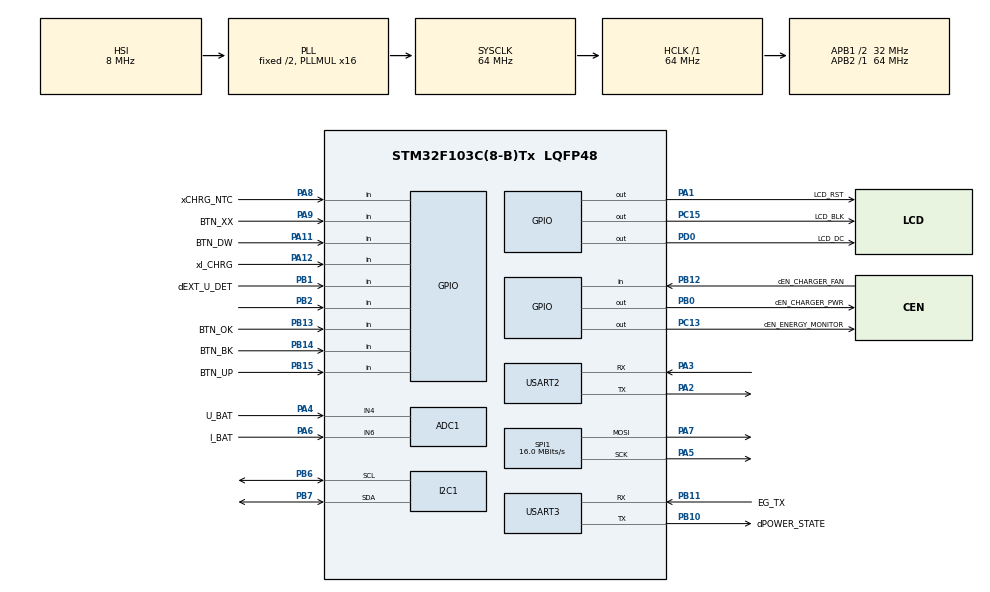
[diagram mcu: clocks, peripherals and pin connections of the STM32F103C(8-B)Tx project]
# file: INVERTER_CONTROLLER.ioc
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ADC1.Channel-5\#ChannelRegularConversion=ADC_CHANNEL_6
ADC1.Channel-6\#ChannelRegularConversion=ADC_CHANNEL_4
ADC1.ContinuousConvMode=DISABLE
ADC1.EnableRegularConversion=ENABLE
ADC1.ExternalTrigConv=ADC_EXTERNALTRIGCONV_T3_TRGO
ADC1.NbrOfConversion=2
ADC1.NbrOfConversionFlag=1
ADC1.Rank-5\#ChannelRegularConversion=1
ADC1.Rank-6\#ChannelRegularConversion=2
ADC1.SamplingTime-5\#ChannelRegularConversion=ADC_SAMPLETIME_1CYCLE_5
ADC1.SamplingTime-6\#ChannelRegularConversion=ADC_SAMPLETIME_1CYCLE_5
ADC1.master=1
Dma.ADC1.0.Direction=DMA_PERIPH_TO_MEMORY
Dma.ADC1.0.Instance=DMA1_Channel1
Dma.ADC1.0.MemDataAlignment=DMA_MDATAALIGN_HALFWORD
Dma.ADC1.0.MemInc=DMA_MINC_ENABLE
Dma.ADC1.0.Mode=DMA_CIRCULAR
Dma.ADC1.0.PeriphDataAlignment=DMA_PDATAALIGN_HALFWORD
Dma.ADC1.0.PeriphInc=DMA_PINC_DISABLE
Dma.ADC1.0.Priority=DMA_PRIORITY_LOW
Dma.Request0=ADC1
Mcu.Family=STM32F1
Mcu.Name=STM32F103C(8-B)Tx
Mcu.Package=LQFP48
NVIC.DMA1_Channel1_IRQn=true\:0\:0\:false\:false\:true\:false\:true\:true
NVIC.PriorityGroup=NVIC_PRIORITYGROUP_4
PA1.GPIO_Label=LCD_RST
PA1.Signal=GPIO_Output
PA11.GPIO_Label=BTN_DW
PA11.Signal=GPIO_Input
PA12.GPIO_Label=xI_CHRG
PA12.Signal=GPIO_Input
PA13.Mode=Serial_Wire
PA13.Signal=SYS_JTMS-SWDIO
PA14.Mode=Serial_Wire
PA14.Signal=SYS_JTCK-SWCLK
PA2.Mode=Asynchronous
PA2.Signal=USART2_TX
PA3.Mode=Asynchronous
PA3.Signal=USART2_RX
PA4.GPIO_Label=U_BAT
PA4.Signal=ADCx_IN4
PA5.Mode=TX_Only_Simplex_Unidirect_Master
PA5.Signal=SPI1_SCK
PA6.GPIO_Label=I_BAT
PA6.Signal=ADCx_IN6
PA7.Mode=TX_Only_Simplex_Unidirect_Master
PA7.Signal=SPI1_MOSI
PA8.GPIO_Label=xCHRG_NTC
PA8.Signal=GPIO_Input
PA9.GPIO_Label=BTN_XX
PA9.Signal=GPIO_Input
PB0.GPIO_Label=cEN_CHARGER_PWR
PB0.Signal=GPIO_Output
PB1.GPIO_Label=dEXT_U_DET
PB1.Signal=GPIO_Input
PB10.GPIO_Label=dPOWER_STATE
PB10.Mode=Asynchronous
PB10.Signal=USART3_TX
PB11.GPIO_Label=EG_TX
PB11.Mode=Asynchronous
PB11.Signal=USART3_RX
PB12.GPIO_Label=cEN_CHARGER_FAN
PB12.Signal=GPIO_Input
PB13.GPIO_Label=BTN_OK
PB13.Signal=GPIO_Input
PB14.GPIO_Label=BTN_BK
PB14.Signal=GPIO_Input
PB15.GPIO_Label=BTN_UP
PB15.Signal=GPIO_Input
PB2.Signal=GPIO_Input
PB6.Mode=I2C
PB6.Signal=I2C1_SCL
PB7.Mode=I2C
PB7.Signal=I2C1_SDA
PC13-TAMPER-RTC.GPIO_Label=cEN_ENERGY_MONITOR
PC13-TAMPER-RTC.Signal=GPIO_Output
PC15-OSC32_OUT.GPIO_Label=LCD_BLK
PC15-OSC32_OUT.PinState=GPIO_PIN_SET
PC15-OSC32_OUT.Signal=GPIO_Output
PD0-OSC_IN.GPIO_Label=LCD_DC
PD0-OSC_IN.Signal=GPIO_Output
ProjectManager.HeapSize=0x200
ProjectManager.StackSize=0x400
ProjectManager.TargetToolchain=STM32CubeIDE
RCC.ADCPresc=RCC_ADCPCLK2_DIV6
RCC.AHBFreq_Value=64000000
RCC.APB1CLKDivider=RCC_HCLK_DIV2
RCC.APB1Freq_Value=32000000
RCC.APB1TimFreq_Value=64000000
RCC.APB2Freq_Value=64000000
RCC.APB2TimFreq_Value=64000000
RCC.HCLKFreq_Value=64000000
RCC.PLLMUL=RCC_PLL_MUL16
RCC.SYSCLKFreq_VALUE=64000000
RCC.SYSCLKSource=RCC_SYSCLKSOURCE_PLLCLK
RCC.USBFreq_Value=64000000
SH.ADCx_IN4.0=ADC1_IN4,IN4
SH.ADCx_IN6.0=ADC1_IN6,IN6
SPI1.BaudRatePrescaler=SPI_BAUDRATEPRESCALER_4
SPI1.CLKPhase=SPI_PHASE_1EDGE
SPI1.CLKPolarity=SPI_POLARITY_HIGH
SPI1.CalculateBaudRate=16.0 MBits/s
SPI1.Direction=SPI_DIRECTION_2LINES
SPI1.Mode=SPI_MODE_MASTER
SPI1.VirtualType=VM_MASTER
TIM3.AutoReloadPreload=TIM_AUTORELOAD_PRELOAD_DISABLE
TIM3.Period=19
TIM3.Prescaler=63
TIM3.TIM_MasterOutputTrigger=TIM_TRGO_UPDATE
USART2.VirtualMode=VM_ASYNC
USART3.VirtualMode=VM_ASYNC
VP_TIM3_VS_ClockSourceINT.Mode=Internal
board=custom

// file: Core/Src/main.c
/* USER CODE BEGIN Header */
/**
 ******************************************************************************
 * @file           : main.c
 * @brief          : Main program body
 ******************************************************************************
 * @attention
 *
 * Copyright (c) 2024 STMicroelectronics.
 * All rights reserved.
 *
 * This software is licensed under terms that can be found in the LICENSE file
 * in the root directory of this software component.
 * If no LICENSE file comes with this software, it is provided AS-IS.
 *
 ******************************************************************************
 */
/* USER CODE END Header */
#include "main.h"
#include "adc.h"
#include "dma.h"
#include "i2c.h"
#include "spi.h"
#include "tim.h"
#include "usart.h"
#include "gpio.h"

/* USER CODE BEGIN Includes */
#include "invertor.h"
#include "utility.h"
#include "energy_monitor.h"
#include "st7789.h"
#include "arm_math.h"
//#include "st7789.h"
/* USER CODE END Includes */

/* USER CODE BEGIN PTD */
#define SAMPLES_PER_CHANNEL 512
uint16_t adc_dma_buffer[SAMPLES_PER_CHANNEL * 2];  // 1024 семплів (2 канали)
float32_t adc_float_ch0[SAMPLES_PER_CHANNEL];
float32_t adc_float_ch1[SAMPLES_PER_CHANNEL];

volatile float v_battery;
volatile float i_battery;
/* USER CODE END PTD */

void SystemClock_Config(void);
/* USER CODE BEGIN PFP */
void config_eg8010(void);

/* USER CODE END PFP */

/* USER CODE BEGIN 0 */
void arm_uint16_to_float32(uint16_t *src, float32_t *dst, uint32_t blockSize);
void arm_uint16_to_float32(uint16_t *src, float32_t *dst, uint32_t blockSize) {
	for (uint32_t i = 0; i < blockSize; i++) {
		dst[i] = (float32_t) src[i];
	}
}

/* USER CODE END 0 */

int main(void)
{

  /* MCU Configuration--------------------------------------------------------*/

  /* Reset of all peripherals, Initializes the Flash interface and the Systick. */
  HAL_Init();

  /* Configure the system clock */
  SystemClock_Config();

  /* Initialize all configured peripherals */
  MX_GPIO_Init();
  MX_DMA_Init();
  MX_USART3_UART_Init();
  MX_SPI1_Init();
  MX_I2C1_Init();
  MX_ADC1_Init();
  MX_TIM3_Init();
  MX_USART2_UART_Init();
  /* USER CODE BEGIN 2 */
	ST7789_Init();
	init_gpio_expander();
	config_eg8010();
	set_12V(true);
	set_bridge_power(true);
	set_eg_pwm(true);
	set_energy_monitor_pwr(true);
	PZEM004Tv30_init(PZEM_DEFAULT_ADDR);
	set_220v_out(true);

	HAL_TIM_Base_Start(&htim3);
	HAL_ADCEx_Calibration_Start(&hadc1);
	HAL_ADC_Start_DMA(&hadc1, (uint32_t*) adc_dma_buffer,
	SAMPLES_PER_CHANNEL * 2);
	float ac_voltage = 0.0;
	float ac_power = 0.0;
  /* USER CODE END 2 */

  /* Infinite loop */
  /* USER CODE BEGIN WHILE */
	while (1) {
		print_ibat(i_battery);
		print_vbat(v_battery);
		ac_voltage = PZEM004Tv30_voltage();
		ac_power = PZEM004Tv30_power();
		print_ac_vout(ac_voltage);
		print_ac_power(ac_power);
    /* USER CODE END WHILE */

	}
}

void SystemClock_Config(void)
{
  RCC_OscInitTypeDef RCC_OscInitStruct = {0};
  RCC_ClkInitTypeDef RCC_ClkInitStruct = {0};
  RCC_PeriphCLKInitTypeDef PeriphClkInit = {0};

  /** Initializes the RCC Oscillators according to the specified parameters
  * in the RCC_OscInitTypeDef structure.
  */
  RCC_OscInitStruct.OscillatorType = RCC_OSCILLATORTYPE_HSI;
  RCC_OscInitStruct.HSIState = RCC_HSI_ON;
  RCC_OscInitStruct.HSICalibrationValue = RCC_HSICALIBRATION_DEFAULT;
  RCC_OscInitStruct.PLL.PLLState = RCC_PLL_ON;
  RCC_OscInitStruct.PLL.PLLSource = RCC_PLLSOURCE_HSI_DIV2;
  RCC_OscInitStruct.PLL.PLLMUL = RCC_PLL_MUL16;
  if (HAL_RCC_OscConfig(&RCC_OscInitStruct) != HAL_OK)
  {
    Error_Handler();
  }

  /** Initializes the CPU, AHB and APB buses clocks
  */
  RCC_ClkInitStruct.ClockType = RCC_CLOCKTYPE_HCLK|RCC_CLOCKTYPE_SYSCLK
                              |RCC_CLOCKTYPE_PCLK1|RCC_CLOCKTYPE_PCLK2;
  RCC_ClkInitStruct.SYSCLKSource = RCC_SYSCLKSOURCE_PLLCLK;
  RCC_ClkInitStruct.AHBCLKDivider = RCC_SYSCLK_DIV1;
  RCC_ClkInitStruct.APB1CLKDivider = RCC_HCLK_DIV2;
  RCC_ClkInitStruct.APB2CLKDivider = RCC_HCLK_DIV1;

  if (HAL_RCC_ClockConfig(&RCC_ClkInitStruct, FLASH_LATENCY_2) != HAL_OK)
  {
    Error_Handler();
  }
  PeriphClkInit.PeriphClockSelection = RCC_PERIPHCLK_ADC;
  PeriphClkInit.AdcClockSelection = RCC_ADCPCLK2_DIV6;
  if (HAL_RCCEx_PeriphCLKConfig(&PeriphClkInit) != HAL_OK)
  {
    Error_Handler();
  }
}

/* USER CODE BEGIN 4 */

void config_eg8010(void) {
	EG_DEAD_TIME_t dead_time_config = EG_DEAD_TIME_1_US;
	config_eg_dead_time(dead_time_config);
	set_invertor_freq(EG_FREQ_50HZ);
	set_invertor_softstart(false);
}

void HAL_ADC_ConvCpltCallback(ADC_HandleTypeDef *hadc) {
	if (hadc->Instance == ADC1) {

		for (uint16_t i = 0; i < SAMPLES_PER_CHANNEL; i++) {
			adc_float_ch1[i] = (float32_t) adc_dma_buffer[i * 2];
			adc_float_ch0[i] = (float32_t) adc_dma_buffer[i * 2 + 1];
		}
		float32_t rms_v_val = 0.0f;
		float32_t rms_i_val = 0.0f;

		// Напруга
		arm_rms_f32(adc_float_ch0, SAMPLES_PER_CHANNEL, &rms_v_val);
		v_battery = calculate_vbat(rms_v_val);
		// Струм
		arm_rms_f32(adc_float_ch1, SAMPLES_PER_CHANNEL, &rms_i_val);
		i_battery = calculate_current_rms(rms_i_val);

	}
}

/* USER CODE END 4 */

void Error_Handler(void)
{
	__disable_irq();
	while (1) {
	}
}
